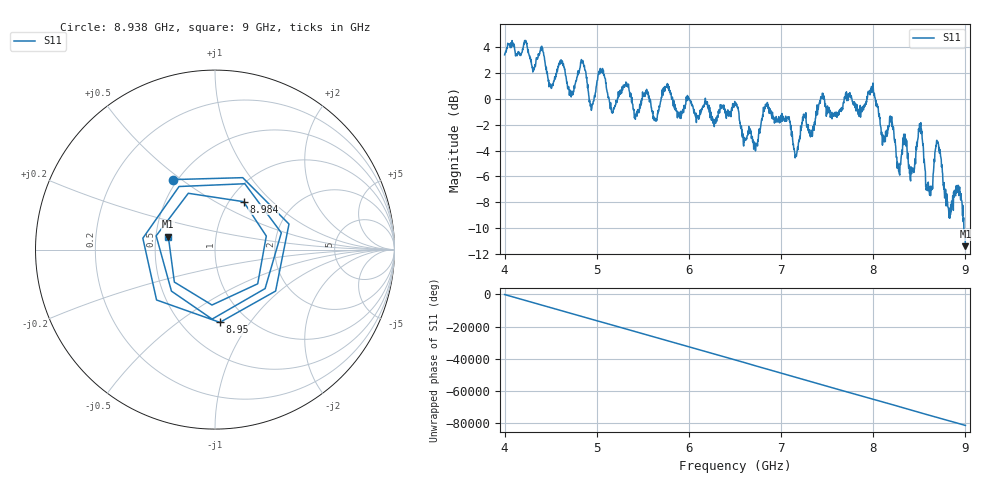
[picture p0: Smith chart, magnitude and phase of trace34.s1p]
! Created with skrf 1.8.0 (http://scikit-rf.org).
# Hz S RI R 50.0
!freq ReS11 ImS11
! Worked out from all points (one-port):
!   1601 points, 4 GHz to 9 GHz, reference 50 ohm
!   lowest |S11| = -11.4 dB at 9 GHz (marker M1), VSWR 1.74, Z = 29.1 + j4.48 ohm
!   |S11| at or under -10 dB: 8.983534 GHz to end of sweep
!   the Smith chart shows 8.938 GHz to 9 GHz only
!   S11 on the Smith chart (normalised r, x): 8.938 GHz: 0.47, +0.46; 8.95 GHz: 0.75, -0.73; 8.984 GHz: 1.16, +0.69; 9 GHz: 0.58, +0.09
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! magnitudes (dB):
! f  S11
! 4 GHz  3.4
! 4.403 GHz  4.1
! 4.506 GHz  0.8
! 4.625 GHz  2.9
! 4.725 GHz  0.5
! 4.85 GHz  3.0
! 4.944 GHz  -0.8
! 5.041 GHz  2.2
! 5.162 GHz  -1.1
! 5.25 GHz  0.6
! 5.875 GHz  -1.5
! 6.5 GHz  -0.3
! 6.606 GHz  -3.2
! 6.844 GHz  -0.6
! 7.125 GHz  -3.1
! 7.75 GHz  0.3
! 7.994 GHz  1.0
! 8.106 GHz  -2.8
! 8.375 GHz  -4.2
! 8.425 GHz  -5.3
! 8.509 GHz  -2.4
! 8.597 GHz  -6.4
! 8.697 GHz  -3.4
! 8.816 GHz  -8.5
! 8.938 GHz  -6.8
! 8.95 GHz  -7.8
! 8.984 GHz  -10.1
! 9 GHz  -11.4
